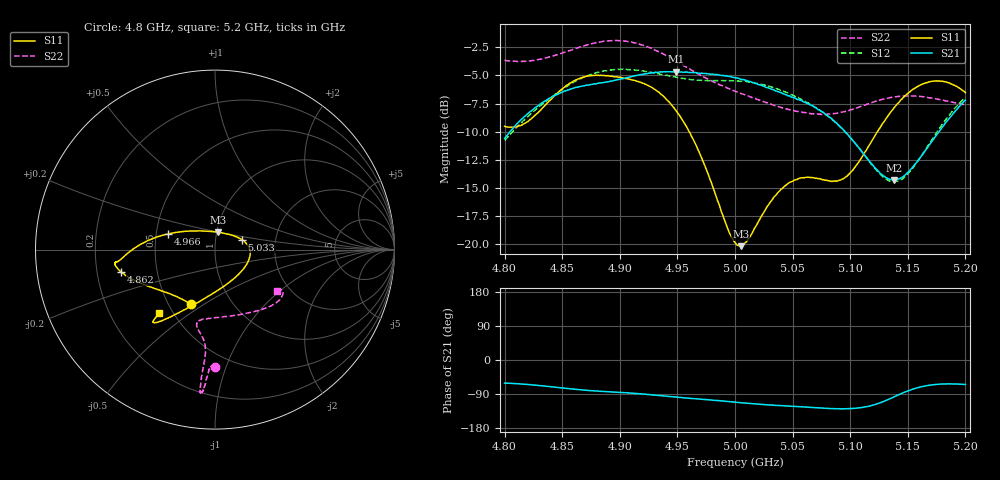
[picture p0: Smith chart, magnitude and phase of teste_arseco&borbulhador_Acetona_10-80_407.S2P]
! Network Analyzer HP8722D
! Hewlett-Packard
! Data name: Linha & Wilkinson
! Saver's name: Rodrigo Anjos
! Comments: Teste da utilização de aquisição
! continua pelo VNA HP8722D
! Time and date: 17/4/2025 17:45
!  Frequency  S11  S21  S12  S22
# HZ  S  MA R 50
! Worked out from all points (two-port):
!   401 points, 4.8 GHz to 5.2 GHz, reference 50 ohm
!   highest |S21| = -4.65 dB at 4.949 GHz (marker M1); lowest = -14.3 dB at 5.138 GHz (marker M2)
!   |S21| within 3 dB of the highest: 4.83 GHz to 5.066 GHz (236.3 MHz wide, 4.78 % of centre); 5.195607 GHz to end of sweep
!   lowest |S11| = -20.2 dB at 5.005 GHz (marker M3), VSWR 1.22, Z = 50.7 + j9.85 ohm
!   |S11| at or under -10 dB: 4.96 GHz to 5.124 GHz (163.5 MHz wide, 3.24 % of centre)
!   |S22| runs from -8.5 to -1.9 dB; largest |S21 - S12| = 0.88
!   S11 on the Smith chart (normalised r, x): 4.8 GHz: 0.64, -0.44; 4.862 GHz: 0.30, -0.11; 4.966 GHz: 0.58, +0.11; 5.033 GHz: 1.34, +0.15; 5.2 GHz: 0.42, -0.39
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4.8e9  0.334 -114.0  0.2945 -61.0  0.2889 -175.2  0.6569 -90.2
4.819e9  0.348 -134.0  0.3756 -64.3  0.3642 -174.0  0.6523 -91.8
4.862e9  0.5377 -166.6  0.4983 -77.4  0.5318 -177.4  0.7434 -94.0
4.867e9  0.5497 -168.4  0.5037 -79.0  0.5469 -178.2  0.7575 -94.3
4.899e9  0.5514 -172.9  0.5394 -85.4  0.5985 175.3  0.8035 -95.6
4.934e9  0.4734 -178.9  0.5821 -93.9  0.5721 171.6  0.7162 -96.1
4.949e9  0.391 173.8  0.5854 -97.7  0.5527 171.9  0.652 -95.6
4.966e9  0.2764 161.5  0.5796 -102.3  0.5374 173.5  0.5786 -95.3
4.993e9  0.1194 119.8  0.5591 -109.3  0.5323 176.0  0.4952 -97.9
5e9  0.1015 97.8  0.5499 -111.4  0.5327 176.0  0.4788 -99.3
5.005e9  0.09763 80.2  0.5408 -112.8  0.5293 176.0  0.4678 -100.5
5.012e9  0.1057 58.1  0.5293 -114.6  0.5249 175.8  0.4551 -102.2
5.033e9  0.1593 20.5  0.4867 -119.0  0.4961 174.5  0.4162 -103.6
5.048e9  0.1884 5.1  0.4547 -121.7  0.4647 174.0  0.3955 -100.3
5.067e9  0.1975 -15.0  0.4127 -125.1  0.4138 173.4  0.3797 -90.4
5.096e9  0.1985 -65.9  0.3136 -128.7  0.3133 174.6  0.3896 -67.8
5.134e9  0.3788 -117.4  0.1941 -103.0  0.1902 -155.9  0.447 -43.1
5.138e9  0.4036 -119.6  0.1921 -97.4  0.1893 -149.6  0.4508 -41.2
5.151e9  0.4722 -125.3  0.21 -80.3  0.2079 -129.9  0.4562 -36.4
5.17e9  0.5286 -129.5  0.2818 -66.1  0.2863 -112.3  0.4469 -32.1
5.184e9  0.5243 -130.8  0.3527 -63.1  0.3635 -107.4  0.433 -31.2
5.2e9  0.4715 -131.1  0.4368 -64.6  0.4482 -106.8  0.416 -33.5
